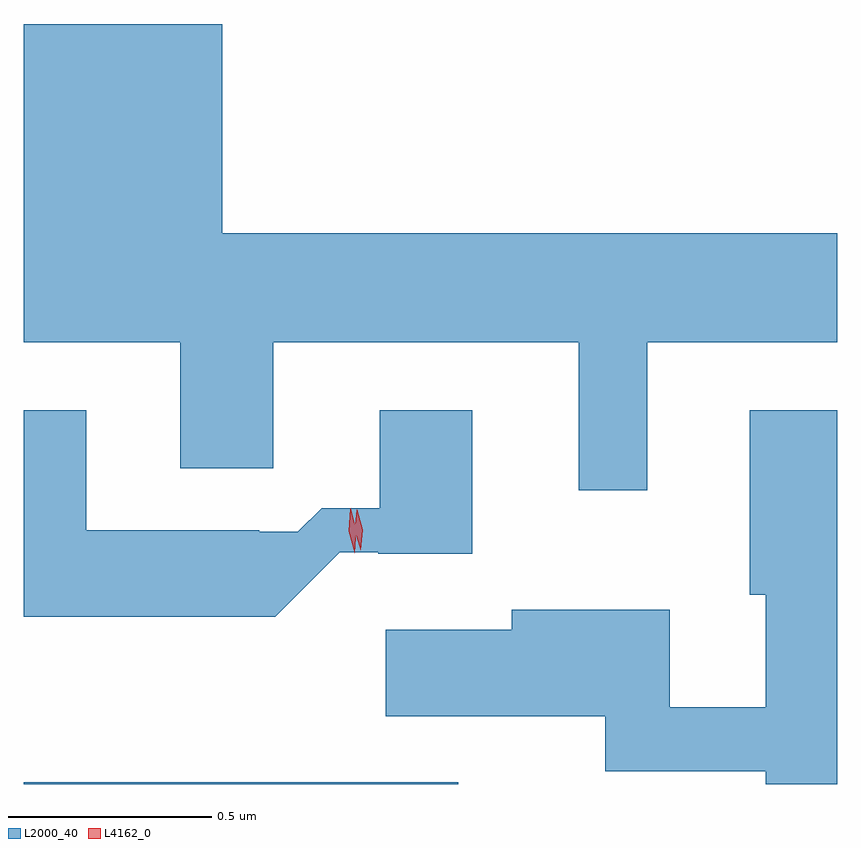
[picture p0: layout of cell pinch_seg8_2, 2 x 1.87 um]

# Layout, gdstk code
import gdstk
lib = gdstk.Library(unit=1e-6, precision=1e-09)
def R(c, l, rs):  # rectangles x0, y0, x1, y1
    for r in rs: c.add(gdstk.rectangle(r[:2], r[2:], *l))
def P(c, l, *ps):  # polygons
    for p in ps: c.add(gdstk.Polygon(p, *l))
L2000_40 = (2000, 40)
L4162_0 = (4162, 0)

pinch_seg8_2 = lib.new_cell('pinch_seg8_2')
R(pinch_seg8_2, L2000_40, [(1076.746,1884.17,1077.814,1884.174)])
P(pinch_seg8_2, L2000_40, [(1078.279,1885.256),(1078.746,1885.256),(1078.746,1885.524),(1077.234,1885.524),(1077.234,1886.039),(1076.746,1886.039),(1076.746,1885.256),(1077.131,1885.256),(1077.131,1884.946),(1077.359,1884.946),(1077.359,1885.256),(1078.111,1885.256),(1078.111,1884.893),(1078.279,1884.893)],
  [(1078.746,1885.089),(1078.531,1885.089),(1078.531,1884.636),(1078.571,1884.636),(1078.571,1884.359),(1078.334,1884.359),(1078.334,1884.599),(1077.946,1884.599),(1077.946,1884.549),(1077.636,1884.549),(1077.636,1884.336),(1078.176,1884.336),(1078.176,1884.201),(1078.571,1884.201),(1078.571,1884.17),(1078.746,1884.17)],
  [(1077.523,1884.74),(1077.617,1884.74),(1077.617,1884.736),(1077.849,1884.736),(1077.849,1885.089),(1077.621,1885.089),(1077.621,1884.848),(1077.478,1884.848),(1077.42,1884.79),(1077.325,1884.79),(1077.325,1884.794),(1076.899,1884.794),(1076.899,1885.089),(1076.746,1885.089),(1076.746,1884.581),(1077.364,1884.581)])
P(pinch_seg8_2, L4162_0, [(1077.56,1884.738),(1077.56,1884.739),(1077.545,1884.792),(1077.549,1884.847),(1077.549,1884.848),(1077.55,1884.847),(1077.564,1884.794),(1077.56,1884.739)],
  [(1077.574,1884.745),(1077.56,1884.794),(1077.565,1884.844),(1077.565,1884.844),(1077.566,1884.844),(1077.58,1884.795),(1077.575,1884.745),(1077.575,1884.745)])

lib.write_gds('pinch_seg8_2.gds')
